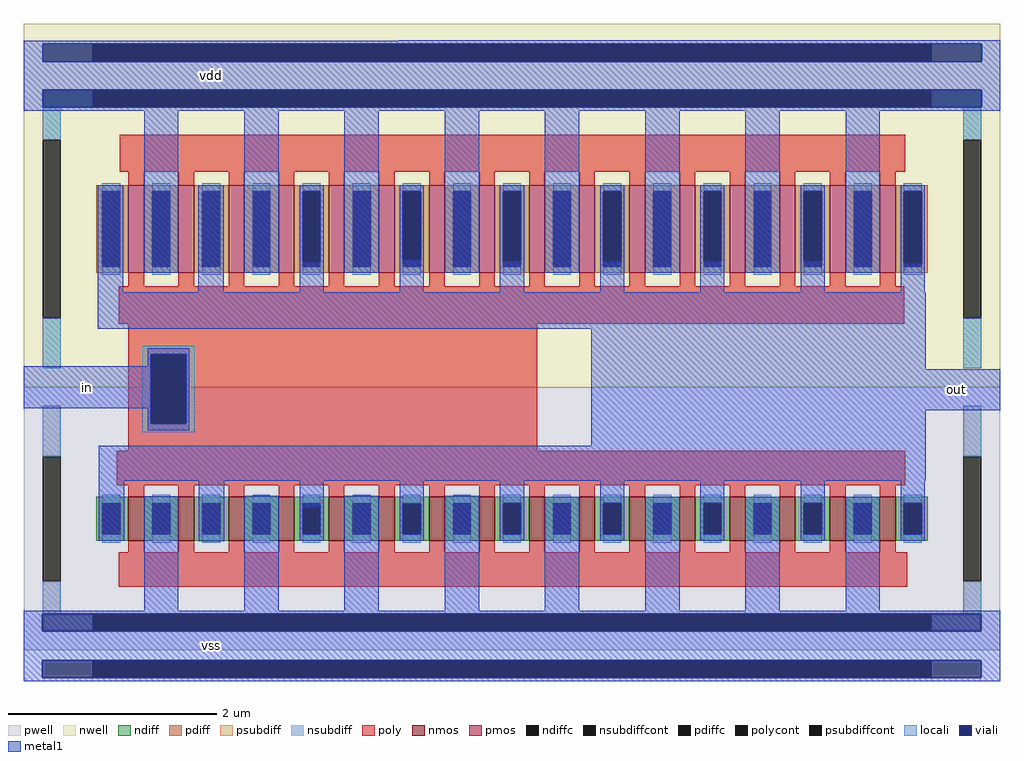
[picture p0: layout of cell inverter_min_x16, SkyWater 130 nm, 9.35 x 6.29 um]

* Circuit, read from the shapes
.subckt inverter_min_x16 in out vdd vss
XM1 vss in out vss sky130_fd_pr__nfet_01v8 w=0.42 l=0.15 m=16
XM2 vdd in out vdd sky130_fd_pr__pfet_01v8 w=0.84 l=0.15 m=16
.ends

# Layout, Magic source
magic
tech sky130A
magscale 1 2
<< nwell >>
rect -53 531 1817 643
rect -31 -19 1817 531
rect -31 -53 574 -19
rect 1037 -53 1817 -19
<< pwell >>
rect -18 -610 1781 -576
<< psubdiff >>
rect -17 -610 79 -576
rect 1685 -610 1781 -576
<< nsubdiff >>
rect -17 571 79 605
rect 1685 571 1781 605
<< psubdiffcont >>
rect 79 -610 1685 -576
<< nsubdiffcont >>
rect 79 571 1685 605
<< poly >>
rect 147 83 465 140
rect 147 81 300 83
rect 147 10 930 81
rect 147 -123 190 10
rect 258 -123 930 10
rect 147 -175 930 -123
rect 147 -181 300 -175
rect 147 -238 465 -181
<< polycont >>
rect 190 -123 258 10
<< locali >>
rect 174 10 274 26
rect 174 -123 190 10
rect 258 -123 274 10
rect 174 -139 274 -123
<< viali >>
rect -17 571 79 605
rect 79 571 1685 605
rect 1685 571 1782 605
rect -17 483 1782 517
rect 190 -123 258 10
rect -18 -521 1781 -487
rect -18 -610 79 -576
rect 79 -610 1685 -576
rect 1685 -610 1781 -576
<< metal1 >>
rect 665 611 1817 612
rect -53 605 1817 611
rect -53 571 -17 605
rect 1782 571 1817 605
rect -53 517 1817 571
rect -53 483 -17 517
rect 1782 483 1817 517
rect -53 477 1817 483
rect 88 129 137 334
rect 177 166 243 477
rect 281 129 330 333
rect 369 166 435 477
rect 475 129 521 185
rect 561 166 627 477
rect 667 129 713 190
rect 753 166 819 477
rect 859 129 905 188
rect 945 166 1011 477
rect 1051 129 1097 187
rect 1137 166 1203 477
rect 1243 129 1289 187
rect 1329 166 1395 477
rect 1435 129 1481 188
rect 1521 166 1587 477
rect 1627 129 1673 184
rect 88 59 1675 129
rect 184 10 264 22
rect 184 -13 190 10
rect -53 -93 190 -13
rect 184 -123 190 -93
rect 258 -123 264 10
rect 184 -135 264 -123
rect 1034 -19 1675 59
rect 1034 -97 1817 -19
rect 1034 -165 1675 -97
rect 90 -232 1675 -165
rect 90 -347 139 -232
rect 177 -481 243 -262
rect 282 -348 331 -232
rect 369 -481 435 -261
rect 475 -283 521 -232
rect 561 -481 627 -261
rect 667 -276 713 -232
rect 753 -481 819 -261
rect 859 -272 905 -232
rect 945 -481 1011 -263
rect 1051 -273 1097 -232
rect 1137 -481 1203 -263
rect 1243 -273 1289 -232
rect 1329 -481 1395 -263
rect 1435 -271 1481 -232
rect 1521 -481 1587 -263
rect 1627 -270 1673 -232
rect -53 -487 1817 -481
rect -53 -521 -18 -487
rect 1781 -521 1817 -487
rect -53 -576 1817 -521
rect -53 -610 -18 -576
rect 1781 -610 1817 -576
rect -53 -616 1817 -610
use sky130_fd_pr__pfet_01v8_BDRUME  sky130_fd_pr__pfet_01v8_BDRUME_0
transform 1 0 882 0 1 250
box -935 -303 935 303
use sky130_fd_pr__nfet_01v8_QQE8KM  sky130_fd_pr__nfet_01v8_QQE8KM_0
transform 1 0 882 0 1 -305
box -935 -252 935 252
<< labels >>
rlabel metal1 -53 -576 665 -521 1 vss
rlabel metal1 -53 -93 190 -13 1 in
rlabel metal1 -53 517 665 571 1 vdd
rlabel metal1 1650 -97 1817 -19 1 out
<< end >>

# cell sky130_fd_pr__pfet_01v8_BDRUME: kit device sky130_fd_pr__pfet_01v8, w 0.84 l 0.15 m 1 nf 16 diffcov 100 polycov 100 guard 1 glc 1 grc 1 gtc 1 gbc 0 tbcov 100 rlcov 100 topc 0 botc 0 poverlap 0 doverlap 1 lmin 0.15 wmin 0.42 compatible {sky130_fd_pr__pfet_01v8 sky130_fd_pr__pfet_01v8_lvt sky130_fd_pr__pfet_01v8_hvt sky130_fd_pr__pfet_g5v0d10v5} full_metal 1 viasrc 100 viadrn 100 viagate 100 viagb 0 viagr 0 viagl 0 viagt 0

# cell sky130_fd_pr__nfet_01v8_QQE8KM: kit device sky130_fd_pr__nfet_01v8, w 0.420 l 0.150 m 1 nf 16 diffcov 100 polycov 100 guard 1 glc 1 grc 1 gtc 0 gbc 1 tbcov 100 rlcov 100 topc 0 botc 0 poverlap 0 doverlap 1 lmin 0.15 wmin 0.42 compatible {sky130_fd_pr__nfet_01v8 sky130_fd_pr__nfet_01v8_lvt sky130_fd_bs_flash__special_sonosfet_star sky130_fd_pr__nfet_g5v0d10v5 sky130_fd_pr__nfet_05v0_nvt sky130_fd_pr__nfet_03v3_nvt} full_metal 1 viasrc 100 viadrn 100 viagate 100 viagb 0 viagr 0 viagl 0 viagt 0
